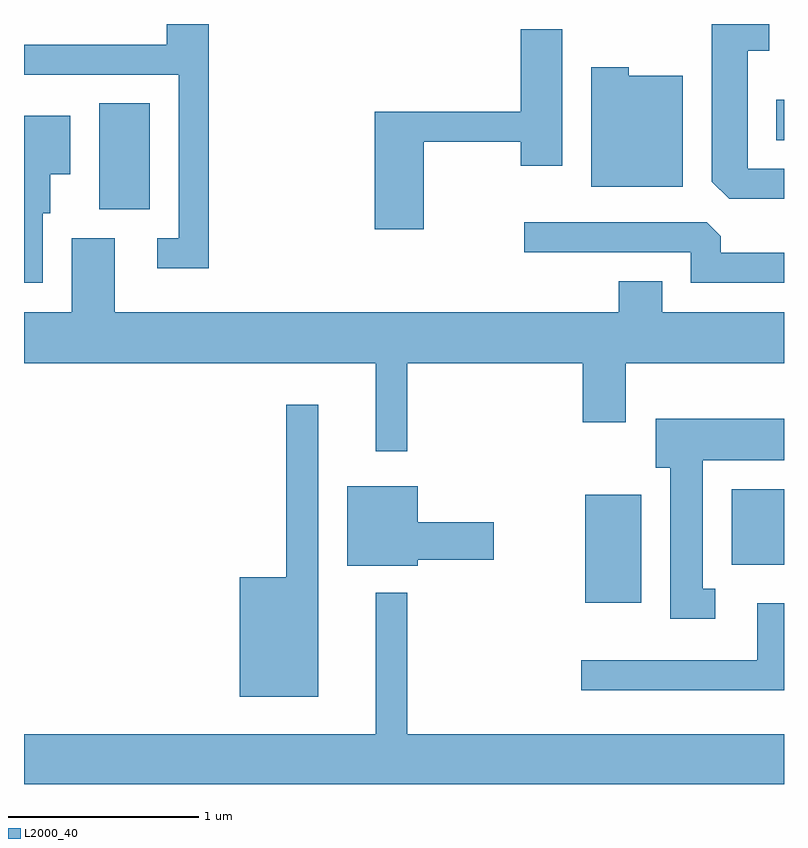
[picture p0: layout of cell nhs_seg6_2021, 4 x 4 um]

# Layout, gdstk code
import gdstk
lib = gdstk.Library(unit=1e-6, precision=1e-09)
def R(c, l, rs):  # rectangles x0, y0, x1, y1
    for r in rs: c.add(gdstk.rectangle(r[:2], r[2:], *l))
def P(c, l, *ps):  # polygons
    for p in ps: c.add(gdstk.Polygon(p, *l))
L2000_40 = (2000, 40)

nhs_seg6_2021 = lib.new_cell('nhs_seg6_2021')
R(nhs_seg6_2021, L2000_40, [(248.566,1653.116,248.859,1653.684), (249.336,1653.316,249.611,1653.714), (246.006,1655.186,246.274,1655.744), (249.571,1655.551,249.611,1655.764)])
P(nhs_seg6_2021, L2000_40, [(249.611,1655.399),(249.419,1655.399),(249.419,1656.021),(249.534,1656.021),(249.534,1656.162),(249.231,1656.162),(249.231,1655.332),(249.322,1655.241),(249.611,1655.241)],
  [(246.584,1656.162),(246.361,1656.162),(246.361,1656.054),(245.611,1656.054),(245.611,1655.896),(246.426,1655.896),(246.426,1655.034),(246.313,1655.034),(246.313,1654.876),(246.584,1654.876)],
  [(247.714,1655.541),(248.226,1655.541),(248.226,1655.416),(248.444,1655.416),(248.444,1656.134),(248.226,1656.134),(248.226,1655.699),(247.456,1655.699),(247.456,1655.081),(247.714,1655.081)],
  [(249.079,1655.889),(248.794,1655.889),(248.794,1655.934),(248.596,1655.934),(248.596,1655.306),(249.079,1655.306)],
  [(245.709,1655.166),(245.749,1655.166),(245.749,1655.371),(245.854,1655.371),(245.854,1655.679),(245.611,1655.679),(245.611,1654.801),(245.709,1654.801)],
  [(249.611,1654.959),(249.279,1654.959),(249.279,1655.044),(249.204,1655.119),(248.243,1655.119),(248.243,1654.961),(249.121,1654.961),(249.121,1654.801),(249.611,1654.801)],
  [(247.629,1654.376),(248.551,1654.376),(248.551,1654.066),(248.779,1654.066),(248.779,1654.376),(249.611,1654.376),(249.611,1654.644),(248.969,1654.644),(248.969,1654.809),(248.741,1654.809),(248.741,1654.644),(246.089,1654.644),(246.089,1655.034),(245.861,1655.034),(245.861,1654.644),(245.611,1654.644),(245.611,1654.376),(247.461,1654.376),(247.461,1653.913),(247.629,1653.913)],
  [(247.159,1654.158),(246.991,1654.158),(246.991,1653.249),(246.746,1653.249),(246.746,1652.621),(247.159,1652.621)],
  [(249.248,1653.189),(249.184,1653.189),(249.184,1653.866),(249.611,1653.866),(249.611,1654.084),(248.936,1654.084),(248.936,1653.826),(249.011,1653.826),(249.011,1653.031),(249.248,1653.031)],
  [(247.684,1653.341),(248.084,1653.341),(248.084,1653.539),(247.684,1653.539),(247.684,1653.729),(247.311,1653.729),(247.311,1653.311),(247.684,1653.311)],
  [(249.611,1653.114),(249.471,1653.114),(249.471,1652.814),(248.543,1652.814),(248.543,1652.656),(249.611,1652.656)],
  [(247.629,1653.168),(247.461,1653.168),(247.461,1652.424),(245.611,1652.424),(245.611,1652.162),(249.611,1652.162),(249.611,1652.424),(247.629,1652.424)])

lib.write_gds('nhs_seg6_2021.gds')
